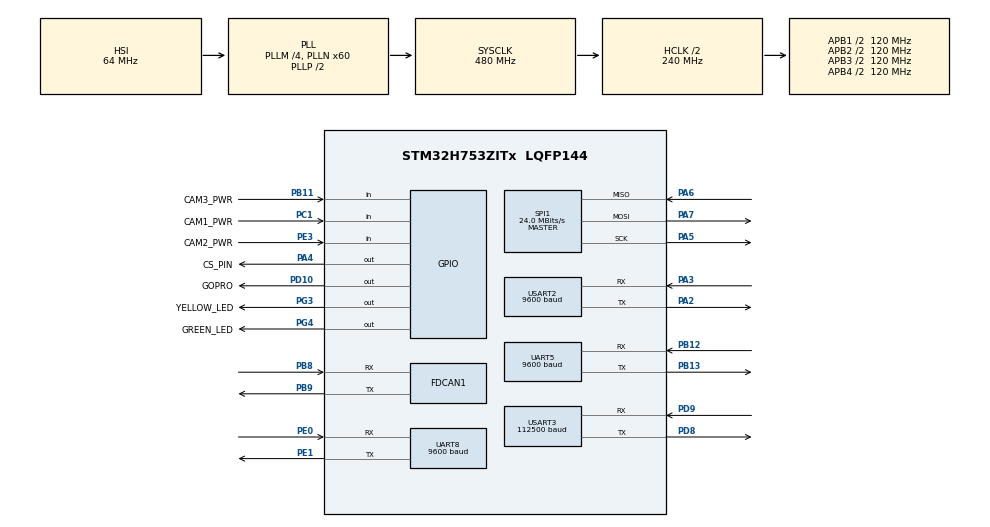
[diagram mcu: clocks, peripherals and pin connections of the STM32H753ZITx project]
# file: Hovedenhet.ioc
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CORTEX_M7.default_mode_Activation=1
FDCAN1.CalculateBaudRateNominal=1000000
FDCAN1.CalculateTimeBitNominal=1000
FDCAN1.CalculateTimeQuantumNominal=12.5
FDCAN1.DataSyncJumpWidth=1
FDCAN1.DataTimeSeg1=1
FDCAN1.DataTimeSeg2=1
FDCAN1.NominalPrescaler=1
FDCAN1.NominalSyncJumpWidth=10
FDCAN1.NominalTimeSeg1=57
FDCAN1.NominalTimeSeg2=22
FDCAN1.RxBuffersNbr=1
FDCAN1.RxFifo0ElmtsNbr=64
FDCAN1.StdFiltersNbr=12
FDCAN1.TxFifoQueueElmtsNbr=2
Mcu.Family=STM32H7
Mcu.Name=STM32H753ZITx
Mcu.Package=LQFP144
NVIC.FDCAN1_IT0_IRQn=true\:0\:0\:false\:false\:true\:true\:true\:true
NVIC.PriorityGroup=NVIC_PRIORITYGROUP_4
NVIC.UART5_IRQn=true\:0\:0\:false\:false\:true\:true\:true\:true
NVIC.UART8_IRQn=true\:0\:0\:false\:false\:true\:true\:true\:true
NVIC.USART2_IRQn=true\:0\:0\:false\:false\:true\:true\:true\:true
PA2.Mode=Asynchronous
PA2.Signal=USART2_TX
PA3.Mode=Asynchronous
PA3.Signal=USART2_RX
PA4.GPIO_Label=CS_PIN
PA4.Signal=GPIO_Output
PA5.Mode=Full_Duplex_Master
PA5.Signal=SPI1_SCK
PA6.Mode=Full_Duplex_Master
PA6.Signal=SPI1_MISO
PA7.Mode=Full_Duplex_Master
PA7.Signal=SPI1_MOSI
PB11.GPIO_Label=CAM3_PWR
PB11.Signal=GPIO_Input
PB12.Mode=Asynchronous
PB12.Signal=UART5_RX
PB13.Mode=Asynchronous
PB13.Signal=UART5_TX
PB8.Mode=FDCAN_Activate
PB8.Signal=FDCAN1_RX
PB9.Mode=FDCAN_Activate
PB9.Signal=FDCAN1_TX
PC1.GPIO_Label=CAM1_PWR
PC1.Signal=GPIO_Input
PD10.GPIO_Label=GOPRO
PD10.Signal=GPIO_Output
PD8.Mode=Asynchronous
PD8.Signal=USART3_TX
PD9.Mode=Asynchronous
PD9.Signal=USART3_RX
PE0.Mode=Asynchronous
PE0.Signal=UART8_RX
PE1.Mode=Asynchronous
PE1.Signal=UART8_TX
PE3.GPIO_Label=CAM2_PWR
PE3.Signal=GPIO_Input
PG3.GPIO_Label=YELLOW_LED
PG3.Signal=GPIO_Output
PG4.GPIO_Label=GREEN_LED
PG4.Signal=GPIO_Output
ProjectManager.HeapSize=0x200
ProjectManager.StackSize=0x400
ProjectManager.TargetToolchain=STM32CubeIDE
RCC.ADCFreq_Value=80000000
RCC.APB1Freq_Value=120000000
RCC.APB2Freq_Value=120000000
RCC.APB3Freq_Value=120000000
RCC.APB4Freq_Value=120000000
RCC.CortexFreq_Value=480000000
RCC.D1PPRE=RCC_APB3_DIV2
RCC.D2PPRE1=RCC_APB1_DIV2
RCC.D2PPRE2=RCC_APB2_DIV2
RCC.D3PPRE=RCC_APB4_DIV2
RCC.DIVM1=4
RCC.DIVM2=4
RCC.DIVN1=60
RCC.DIVN2=10
RCC.DIVQ1=10
RCC.FDCANCLockSelection=RCC_FDCANCLKSOURCE_PLL2
RCC.HCLKFreq_Value=240000000
RCC.HPRE=RCC_HCLK_DIV2
RCC.PLL2FRACN=0
RCC.PLL3FRACN=0
RCC.PLLFRACN=0
RCC.SYSCLKFreq_VALUE=480000000
RCC.SYSCLKSource=RCC_SYSCLKSOURCE_PLLCLK
RCC.USBFreq_Value=96000000
SPI1.BaudRatePrescaler=SPI_BAUDRATEPRESCALER_4
SPI1.CalculateBaudRate=24.0 MBits/s
SPI1.DataSize=SPI_DATASIZE_8BIT
SPI1.Direction=SPI_DIRECTION_2LINES
SPI1.Mode=SPI_MODE_MASTER
SPI1.VirtualType=VM_MASTER
UART5.BaudRate=9600
UART8.BaudRate=9600
USART2.BaudRate=9600
USART2.VirtualMode-Asynchronous=VM_ASYNC
USART3.BaudRate=112500
USART3.VirtualMode-Asynchronous=VM_ASYNC
VP_MEMORYMAP_VS_MEMORYMAP.Mode=CurAppReg
board=custom

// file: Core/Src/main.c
/* USER CODE BEGIN Header */
/**
  ******************************************************************************
  * @file           : main.c
  * @brief          : Main program body
  ******************************************************************************
  * @attention
  *
  * Copyright (c) 2025 STMicroelectronics.
  * All rights reserved.
  *
  * This software is licensed under terms that can be found in the LICENSE file
  * in the root directory of this software component.
  * If no LICENSE file comes with this software, it is provided AS-IS.
  *
  ******************************************************************************
  */
/* USER CODE END Header */
#include "main.h"
#include "fdcan.h"
#include "memorymap.h"
#include "spi.h"
#include "usart.h"
#include "gpio.h"

/* USER CODE BEGIN Includes */
#include "flash_driver.h"
#include "camera_driver.h"
#include "fdcan_impl.h"
#include "util.h"

#include <sys/unistd.h>
#include <errno.h>
#include <stdio.h>
/* USER CODE END Includes */

/* USER CODE BEGIN PV */
static uint32_t g_local_time = 0;
static uint8_t g_flash_logging_enabled = 0;
static uint32_t g_gopro_release_timestamp = 0; // timestamp(ms) when the gopro button should be released
static uint32_t g_last_can_message_timestamp = 0; // timestamp(ms) when the last canmessage was recieved

static camera_data_t CAM1 = {0};
static camera_data_t CAM2 = {0};
static camera_data_t CAM3 = {0};
/* USER CODE END PV */

void SystemClock_Config(void);
static void MPU_Config(void);
/* USER CODE BEGIN PFP */
void process_incomming_commands(uint8_t command);
void send_status(void);

/* USER CODE END PFP */

/* USER CODE BEGIN 0 */

/* fdcan parse message, called for every message recieved */
/* this is a callback function that is called by the fdcan fifo handler */
void FDCAN_parse_message(uint32_t id, void* pData, uint8_t size)
{
	g_last_can_message_timestamp = HAL_GetTick();
	uint8_t* pbData = (uint8_t*)pData;

	// Logging to console
	print("Received CAN Message: ");
    for (int i = 0; i < 8; i++) {
    	print("%02X ", pbData[i]);
    }
    print("\r\n");

	switch(id){
	//CAN ID = 201 is CAN message with GNSS time from flight estimator used to update local time
	case 201:
		uint32_t GNSS_time = *(uint32_t*)pData;

		uint32_t H = GNSS_time/10000000;
		uint32_t M = (GNSS_time/100000) % 100;
		uint32_t S = (GNSS_time/1000) % 100;
		uint32_t MS = GNSS_time % 1000;

		g_local_time = ((H*3600UL + M*60UL + S)*1000UL) + MS;
		break;
	//CAN ID = 401 is CAN message for commands to black box
	case 401:

		if(pbData[6] == pbData[7]){
			uint8_t command = pbData[6];
			process_incomming_commands(command);
		}
		break;
	//CAN ID = 402 is CAN message for manual update of current page
	case 402:
		uint16_t page_index = *(uint16_t*)(pData+6);

		Automatic_Block_Managment(page_index);
		flash.Buffer_Index=0;
		flash.Page_Index=page_index;
		flash.Buffer_Select=0;
		flash.Buffer_p=flash.Buffer_0;
		break;
	default:
		break;
	}

	if(g_flash_logging_enabled != 0){
		// Save message to flash
		uint8_t buffer[16] = {0};
		uint8_t* ptr = buffer;

		//Start byte
		*ptr = 0xF0;
		ptr++;

		//CAN ID Stored in 2 first bytes
		*ptr = (uint16_t)(id & 0xFFFF);
		ptr += sizeof(uint16_t);

		//8 bytes with CAN data
		memcpy(ptr, pData, 8);
		ptr += 8;

		//Clock (uint32_t)
		//uint32_t t = g_local_time;
		uint32_t t = HAL_GetTick();
		memcpy(ptr, &t, sizeof(t));
		ptr += sizeof(uint32_t);

		//Stop byte
		*ptr = 0x0F;
		ptr++;

		//Write to flash
		Write_Data(buffer, sizeof(buffer));
	}
}

void send_status(void)
{
	uint32_t status = 0;

	if(HAL_GPIO_ReadPin(GPIOC, CAM1_PWR_Pin)){
		status |= (1 << 0);
	}
	if(HAL_GPIO_ReadPin(GPIOE, CAM2_PWR_Pin)){
		status |= (1 << 1);
	}
	if(HAL_GPIO_ReadPin(GPIOB, CAM3_PWR_Pin)){
		status |= (1 << 2);
	}
	if(CAM1.status[0] == 0x42){
		status |= (1 << 3);
	}
	if(CAM2.status[0] == 0x42){
		status |= (1 << 4);
	}
	if(CAM3.status[0] == 0x42){
		status |= (1 << 5);
	}
	if(g_last_can_message_timestamp + 1000 < HAL_GetTick()){
		status |= (1 << 6);
	}
	if(g_flash_logging_enabled){
		status |= (1 << 7);
	}

	uint8_t buffer[6];
	*(uint32_t*)(buffer+0) = status;
	*(uint16_t*)(buffer+4) = flash.Page_Index;

	FDCAN_sendmsg(400, buffer, sizeof(buffer));
}

void process_incomming_commands(uint8_t command)
{
    switch (command) {
	//CAM to IDLE - stop recording cameras
      case 0x41:
        CAM_send_command(&CAM1, CAMERA_IDLE);
        CAM_send_command(&CAM2, CAMERA_IDLE);
        CAM_send_command(&CAM3, CAMERA_IDLE);
        break;
  	  //CAM to REC - start recording cameras
	    case 0x42:
        CAM_send_command(&CAM1, CAMERA_RECORDING);
        CAM_send_command(&CAM2, CAMERA_RECORDING);
        CAM_send_command(&CAM3, CAMERA_RECORDING);
        break;

	  //CAM to FORMAT - format sd card
	    case 0x43:
        CAM_send_command(&CAM1, CAMERA_FORMAT);
        CAM_send_command(&CAM2, CAMERA_FORMAT);
        CAM_send_command(&CAM3, CAMERA_FORMAT);
        break;

	  //CAM to REBOOT - restart cameras
      case 0x44:
        CAM_send_command(&CAM1, CAMERA_REBOOT);
        CAM_send_command(&CAM3, CAMERA_REBOOT);
        CAM_send_command(&CAM2, CAMERA_REBOOT);
        break;

	  //CAM to DEBUG - enable wifimodule for cameras
    case 0x45:
		  CAM_send_command(&CAM1, CAMERA_DEBUG);
		  CAM_send_command(&CAM2, CAMERA_DEBUG);
		  CAM_send_command(&CAM3, CAMERA_DEBUG);
      break;

	  //Reboot MCU - reset self
	  case 0x47:
		  NVIC_SystemReset();
      break;

	  //Start GoPro filming
    case 0x48:
      HAL_GPIO_WritePin (GPIOD, GOPRO_Pin, GPIO_PIN_SET);
	  g_gopro_release_timestamp = HAL_GetTick()+1000;
      break;

	  //Stop GoPro filming
    case 0x49:
		  HAL_GPIO_WritePin (GPIOD, GOPRO_Pin, GPIO_PIN_SET);
		  g_gopro_release_timestamp = HAL_GetTick()+1000;
      break;

	  //Turn on GoPro
	  case 0x4A:
		  HAL_GPIO_WritePin (GPIOD, GOPRO_Pin, GPIO_PIN_SET);
		  g_gopro_release_timestamp = HAL_GetTick()+5000;
      break;

	  //Turn off GoPro
	  case 0x4B:
		  HAL_GPIO_WritePin (GPIOD, GOPRO_Pin, GPIO_PIN_SET);
		  g_gopro_release_timestamp = HAL_GetTick()+5000;
      break;

	  //Erase flight REC
	  case 0x4C:
		  Chip_Erase();
		  break;

	  //Start fligt REC
	  case 0x4D:
		  if(flash.Memory_Full == 0){
			  g_flash_logging_enabled=1;
		  }
		  break;

	  //Stop flight REC
	  case 0x4E:
		  g_flash_logging_enabled=0;
		  break;

	  //Read flight REC
	  case 0x52:
		  Read_Data_Cont(16);
		  break;

		  // No command
	  case 0:
		  break;

    default:
    	print("unknown command 0x%X\r\n", command);
      break;
    }
    command = 0;
}

void HAL_UART_RxCpltCallback(UART_HandleTypeDef *huart){
	camera_data_t* cam = 0;

	if(huart->Instance == CAM1.huart->Instance)
		cam = &CAM1;
	else if(huart->Instance == CAM2.huart->Instance)
		cam = &CAM2;
	else if(huart->Instance == CAM3.huart->Instance)
		cam = &CAM3;

	if(cam != 0)
	{
		// receive status
		HAL_UART_Receive_IT(cam->huart, cam->status, 2);
	}
}

/* USER CODE END 0 */

int main(void)
{

  /* USER CODE BEGIN 1 */
	//Assigning status register addresses
	flash.SR_1 = 0;
	flash.SR_2 = 0;
	flash.SR_3 = 0;

	memset(&flash.Buffer_0, 0xFF, sizeof(flash.Buffer_0));
	memset(&flash.Buffer_1, 0xFF, sizeof(flash.Buffer_1));

	flash.Buffer_Index = 0;
	flash.Buffer_Select = 0;
	flash.Memory_Full = 0;
	flash.Block_Mem = 0;
	flash.Page_Index = 0;
	flash.ID = 0;
	flash.Buffer_p = flash.Buffer_0;

	CoreDebug->DEMCR |= CoreDebug_DEMCR_TRCENA_Msk;  // Enable DWT
	DWT->CTRL |= DWT_CTRL_CYCCNTENA_Msk;            // Enable cycle counter

  /* Disable I/O buffering for STDOUT stream, so that
   * chars are sent out as soon as they are printed. */
  setvbuf(stdout, NULL, _IONBF, 0);
  /* USER CODE END 1 */

  /* MPU Configuration--------------------------------------------------------*/
  MPU_Config();

  /* MCU Configuration--------------------------------------------------------*/

  /* Reset of all peripherals, Initializes the Flash interface and the Systick. */
  HAL_Init();

  /* Configure the system clock */
  SystemClock_Config();

  /* Initialize all configured peripherals */
  MX_GPIO_Init();
  MX_FDCAN1_Init();
  MX_SPI1_Init();
  MX_USART3_UART_Init();
  MX_UART5_Init();
  MX_UART8_Init();
  MX_USART2_UART_Init();
  /* USER CODE BEGIN 2 */
  FDCAN_init(&hfdcan1);

	CAM_init(&CAM1, &huart2);
	CAM_init(&CAM2, &huart8);
	CAM_init(&CAM3, &huart5);

// TODO: check if its necessary to get camstatus on startup. i think these are retrieved via interrupt anyways (might check later)
  HAL_UART_Receive_IT(CAM1.huart, CAM1.status, 2);
  HAL_UART_Receive_IT(CAM2.huart, CAM2.status, 2);
  HAL_UART_Receive_IT(CAM3.huart, CAM3.status, 2);

  Flash_Init(0);
  flash.ID=Read_ID();
  /* USER CODE END 2 */

  /* Infinite loop */
  /* USER CODE BEGIN WHILE */

  uint32_t lasttime_ledblink = HAL_GetTick();
  uint32_t lasttime_statussendt = HAL_GetTick();
  uint32_t lasttime_flash_status_checked = HAL_GetTick();

  while (1)
  {
	  uint32_t now = HAL_GetTick();

	  // Blink led
	  if(lasttime_ledblink + 500 > now)
	  {
		  lasttime_ledblink = now;
		  HAL_GPIO_TogglePin(GPIOG, GPIO_PIN_3);
	  }

	  // Check if gopro button has been pressed for long enough
	  if(g_gopro_release_timestamp != 0 && g_gopro_release_timestamp < now){
		  HAL_GPIO_WritePin (GPIOD, GOPRO_Pin, GPIO_PIN_RESET);
		  g_gopro_release_timestamp = 0;
	  }

	  // Read status registers from flash memory
	  if(lasttime_flash_status_checked + 1000 > now)
	  {
		  lasttime_flash_status_checked = now;
		  Read_All_Status_Register();
	  }

	  // Send status
	  if(lasttime_statussendt + 1000 > now)
	  {
		  lasttime_statussendt = now;
		  send_status();
	  }

	  uint8_t command = 0;
	  HAL_StatusTypeDef status = HAL_UART_Receive(&huart3, &command,1, 20);
	  if (status == HAL_OK) {
	      // Data received successfully
	      // 'command' contains the received byte
		  print("Received: 0x%02X\r\n", command);
	  }

    /* USER CODE END WHILE */

  }
}

void SystemClock_Config(void)
{
  RCC_OscInitTypeDef RCC_OscInitStruct = {0};
  RCC_ClkInitTypeDef RCC_ClkInitStruct = {0};

  /** Supply configuration update enable
  */
  HAL_PWREx_ConfigSupply(PWR_LDO_SUPPLY);

  /** Configure the main internal regulator output voltage
  */
  __HAL_PWR_VOLTAGESCALING_CONFIG(PWR_REGULATOR_VOLTAGE_SCALE0);

  while(!__HAL_PWR_GET_FLAG(PWR_FLAG_VOSRDY)) {}

  /** Initializes the RCC Oscillators according to the specified parameters
  * in the RCC_OscInitTypeDef structure.
  */
  RCC_OscInitStruct.OscillatorType = RCC_OSCILLATORTYPE_HSI;
  RCC_OscInitStruct.HSIState = RCC_HSI_DIV1;
  RCC_OscInitStruct.HSICalibrationValue = RCC_HSICALIBRATION_DEFAULT;
  RCC_OscInitStruct.PLL.PLLState = RCC_PLL_ON;
  RCC_OscInitStruct.PLL.PLLSource = RCC_PLLSOURCE_HSI;
  RCC_OscInitStruct.PLL.PLLM = 4;
  RCC_OscInitStruct.PLL.PLLN = 60;
  RCC_OscInitStruct.PLL.PLLP = 2;
  RCC_OscInitStruct.PLL.PLLQ = 10;
  RCC_OscInitStruct.PLL.PLLR = 2;
  RCC_OscInitStruct.PLL.PLLRGE = RCC_PLL1VCIRANGE_3;
  RCC_OscInitStruct.PLL.PLLVCOSEL = RCC_PLL1VCOWIDE;
  RCC_OscInitStruct.PLL.PLLFRACN = 0;
  if (HAL_RCC_OscConfig(&RCC_OscInitStruct) != HAL_OK)
  {
    Error_Handler();
  }

  /** Initializes the CPU, AHB and APB buses clocks
  */
  RCC_ClkInitStruct.ClockType = RCC_CLOCKTYPE_HCLK|RCC_CLOCKTYPE_SYSCLK
                              |RCC_CLOCKTYPE_PCLK1|RCC_CLOCKTYPE_PCLK2
                              |RCC_CLOCKTYPE_D3PCLK1|RCC_CLOCKTYPE_D1PCLK1;
  RCC_ClkInitStruct.SYSCLKSource = RCC_SYSCLKSOURCE_PLLCLK;
  RCC_ClkInitStruct.SYSCLKDivider = RCC_SYSCLK_DIV1;
  RCC_ClkInitStruct.AHBCLKDivider = RCC_HCLK_DIV2;
  RCC_ClkInitStruct.APB3CLKDivider = RCC_APB3_DIV2;
  RCC_ClkInitStruct.APB1CLKDivider = RCC_APB1_DIV2;
  RCC_ClkInitStruct.APB2CLKDivider = RCC_APB2_DIV2;
  RCC_ClkInitStruct.APB4CLKDivider = RCC_APB4_DIV2;

  if (HAL_RCC_ClockConfig(&RCC_ClkInitStruct, FLASH_LATENCY_4) != HAL_OK)
  {
    Error_Handler();
  }
}

/* USER CODE BEGIN 4 */

// For printf function to work
int _write(int fd, char* ptr, int len) {
  HAL_StatusTypeDef hstatus;

  if (fd == STDOUT_FILENO || fd == STDERR_FILENO) {
    hstatus = HAL_UART_Transmit(&huart3,(uint8_t *) ptr, len, HAL_MAX_DELAY);
    if (hstatus == HAL_OK)
      return len;
    else
      return EIO;
  }
  errno = EBADF;
  return -1;
}

int _read(int fd, char* ptr, int len) {
  (void)len;
  HAL_StatusTypeDef hstatus;

  if (fd == STDIN_FILENO) {
    hstatus = HAL_UART_Receive(&huart3, (uint8_t *) ptr, 1, HAL_MAX_DELAY);
    if (hstatus == HAL_OK)
      return 1;
    else
      return EIO;
  }
  errno = EBADF;
  return -1;
}

/* USER CODE END 4 */

 /* MPU Configuration */

void MPU_Config(void)
{
  MPU_Region_InitTypeDef MPU_InitStruct = {0};

  /* Disables the MPU */
  HAL_MPU_Disable();

  /** Initializes and configures the Region and the memory to be protected
  */
  MPU_InitStruct.Enable = MPU_REGION_ENABLE;
  MPU_InitStruct.Number = MPU_REGION_NUMBER0;
  MPU_InitStruct.BaseAddress = 0x0;
  MPU_InitStruct.Size = MPU_REGION_SIZE_4GB;
  MPU_InitStruct.SubRegionDisable = 0x87;
  MPU_InitStruct.TypeExtField = MPU_TEX_LEVEL0;
  MPU_InitStruct.AccessPermission = MPU_REGION_NO_ACCESS;
  MPU_InitStruct.DisableExec = MPU_INSTRUCTION_ACCESS_DISABLE;
  MPU_InitStruct.IsShareable = MPU_ACCESS_SHAREABLE;
  MPU_InitStruct.IsCacheable = MPU_ACCESS_NOT_CACHEABLE;
  MPU_InitStruct.IsBufferable = MPU_ACCESS_NOT_BUFFERABLE;

  HAL_MPU_ConfigRegion(&MPU_InitStruct);
  /* Enables the MPU */
  HAL_MPU_Enable(MPU_PRIVILEGED_DEFAULT);

}

void Error_Handler(void)
{
  /* USER CODE BEGIN Error_Handler_Debug */
  /* User can add his own implementation to report the HAL error return state */
  // HAL_FDCAN_Start(&hfdcan1);
  __disable_irq();
  printf("Error_Handler!\r\n");
  while (1)
  {
  }
  /* USER CODE END Error_Handler_Debug */
}

#ifdef  USE_FULL_ASSERT
/**
  * @brief  Reports the name of the source file and the source line number
  *         where the assert_param error has occurred.
  * @param  file: pointer to the source file name
  * @param  line: assert_param error line source number
  * @retval None
  */
void assert_failed(uint8_t *file, uint32_t line)
{
  /* USER CODE BEGIN 6 */
  /* User can add his own implementation to report the file name and line number,
     ex: printf("Wrong parameters value: file %s on line %d\r\n", file, line) */
  printf("Assertion failed: file %s on line %lu\r\n", file, line);
  Error_Handler();
  /* USER CODE END 6 */
}
#endif /* USE_FULL_ASSERT */
